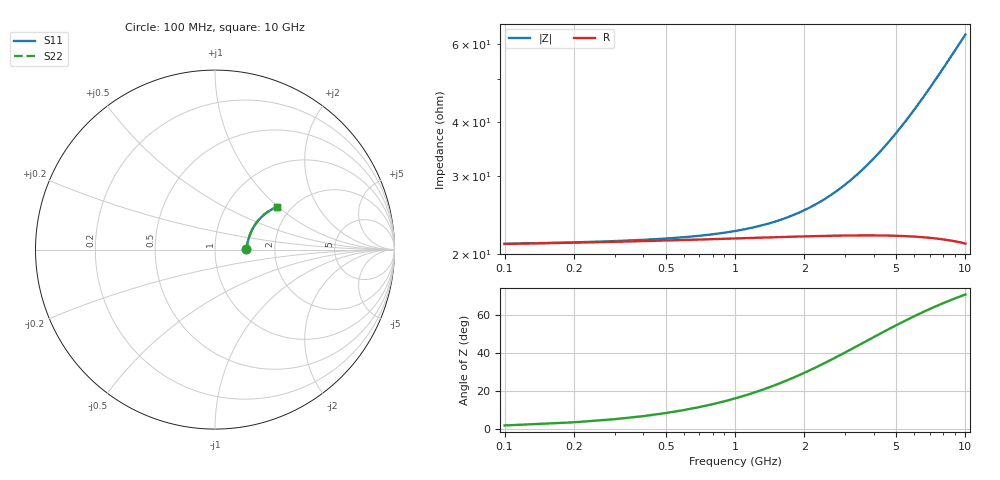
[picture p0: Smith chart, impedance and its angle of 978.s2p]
# Hz S RI R 50.00
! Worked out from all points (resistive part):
!   100 points, 100 MHz to 10 GHz, reference 50 ohm
!   read as one part in series: R = 21.1 ohm at 100 MHz
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1e8  0.1739 0.00331  0.8261 -0.00506  0.8261 -0.00506  0.1739 0.00331
2e8  0.1749 0.0066  0.8251 -0.0101  0.8251 -0.0101  0.1749 0.0066
7e8  0.1783 0.0229  0.8216 -0.0351  0.8216 -0.0351  0.1783 0.0229
1e9  0.1802 0.0326  0.8196 -0.05  0.8196 -0.05  0.1802 0.0326
1.4e9  0.1831 0.0454  0.8166 -0.0698  0.8166 -0.0698  0.1831 0.0454
1.8e9  0.1863 0.058  0.8131 -0.0893  0.8131 -0.0893  0.1863 0.058
2.1e9  0.1891 0.0673  0.8101 -0.1039  0.8101 -0.1039  0.1891 0.0673
2.5e9  0.1933 0.0795  0.8057 -0.1231  0.8057 -0.1231  0.1933 0.0795
2.9e9  0.1979 0.0915  0.8006 -0.1421  0.8006 -0.1421  0.1979 0.0915
3.4e9  0.2045 0.106  0.7936 -0.1654  0.7936 -0.1654  0.2045 0.106
4.2e9  0.2165 0.1283  0.7805 -0.2017  0.7805 -0.2017  0.2165 0.1283
4.6e9  0.2233 0.1389  0.7732 -0.2193  0.7732 -0.2193  0.2233 0.1389
5.1e9  0.2323 0.1516  0.7633 -0.2407  0.7633 -0.2407  0.2323 0.1516
5.9e9  0.2481 0.1705  0.746 -0.2738  0.746 -0.2738  0.2481 0.1705
6.3e9  0.2566 0.1793  0.7367 -0.2896  0.7367 -0.2896  0.2566 0.1793
6.7e9  0.2654 0.1877  0.7271 -0.305  0.7271 -0.305  0.2654 0.1877
7.1e9  0.2745 0.1955  0.7171 -0.32  0.7171 -0.32  0.2745 0.1955
7.5e9  0.2838 0.2029  0.7067 -0.3344  0.7067 -0.3344  0.2838 0.2029
7.9e9  0.2934 0.2098  0.696 -0.3484  0.696 -0.3484  0.2934 0.2098
8.4e9  0.3057 0.2177  0.6823 -0.3653  0.6823 -0.3653  0.3057 0.2177
9.2e9  0.326 0.2288  0.6597 -0.3906  0.6597 -0.3906  0.326 0.2288
1e10  0.3468 0.2379  0.6362 -0.414  0.6362 -0.414  0.3468 0.2379
